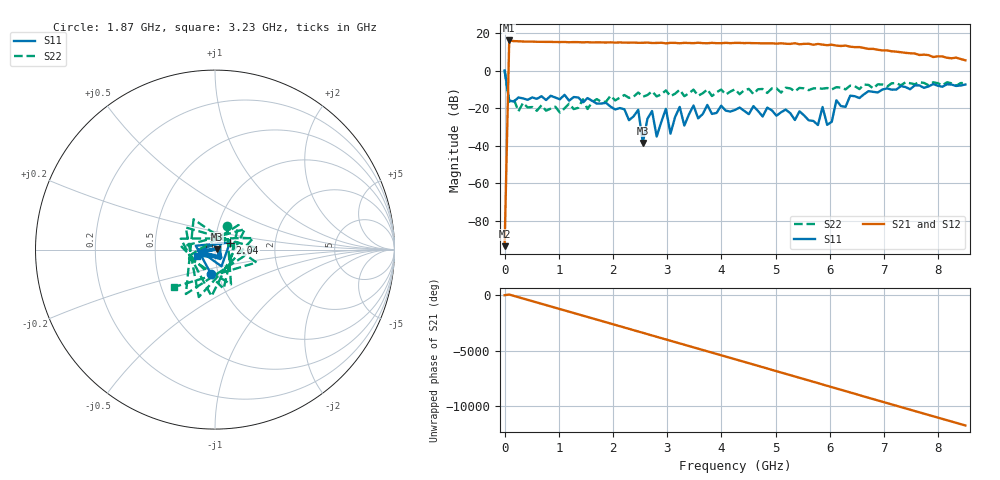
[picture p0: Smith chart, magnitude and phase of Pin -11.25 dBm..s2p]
! RsaToolbox (C) 2013 Rohde & Schwarz America
! Number of points: 101
! Number of ports: 2
! Balanced ports?: 0
# Hz S RI R 50
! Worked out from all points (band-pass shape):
!   101 points, 9 kHz to 8.5 GHz, reference 50 ohm
!   highest |S21| = 16.09 dB at 85.01 MHz (marker M1); lowest = -93.7 dB at 9 kHz (marker M2)
!   |S21| within 3 dB of the highest: 82.69 MHz to 6.329 GHz (6.247 GHz wide, 195 % of centre)
!   lowest |S11| = -38.6 dB at 2.55 GHz (marker M3), VSWR 1.02, Z = 51.2 + j0.158 ohm
!   |S11| at or under -10 dB: 53.43 MHz to 6.983 GHz (6.929 GHz wide, 197 % of centre); 7.118 GHz to 7.231 GHz (112.6 MHz wide, 1.57 % of centre)
!   |S22| runs from -22.4 to 0.2 dB; largest |S21 - S12| = 0
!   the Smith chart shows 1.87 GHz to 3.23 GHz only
!   S11 on the Smith chart (normalised r, x): 1.87 GHz: 0.92, -0.26; 2.04 GHz: 1.18, +0.09; 3.23 GHz: 0.81, -0.05
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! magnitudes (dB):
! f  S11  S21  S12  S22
! 9 kHz  0.1  -93.7  -93.7  0.2
! 85.01 MHz  -16.0  16.1  16.1  -16.6
! 1.02 GHz  -15.3  15.2  15.2  -22.4
! 1.445 GHz  -16.9  15.1  15.1  -15.3
! 1.87 GHz  -17.2  15.0  15.0  -16.6
! 2.04 GHz  -20.7  14.9  14.9  -15.9
! 2.465 GHz  -20.9  14.8  14.8  -11.7
! 2.55 GHz  -38.6  14.8  14.8  -14.0
! 2.72 GHz  -21.6  14.7  14.7  -11.1
! 2.805 GHz  -35.2  14.8  14.8  -13.8
! 2.89 GHz  -27.4  14.9  14.9  -12.7
! 2.975 GHz  -20.4  14.6  14.6  -10.6
! 3.06 GHz  -33.6  14.8  14.8  -13.7
! 3.23 GHz  -19.4  14.6  14.6  -10.2
! 3.315 GHz  -29.3  14.8  14.8  -13.6
! 3.485 GHz  -18.6  14.7  14.7  -10.2
! 3.57 GHz  -25.5  14.9  14.9  -13.4
! 4.25 GHz  -21.0  14.8  14.8  -9.9
! 5.695 GHz  -26.9  13.8  13.8  -9.5
! 6.12 GHz  -15.8  13.4  13.4  -8.8
! 7.14 GHz  -10.2  10.3  10.3  -6.8
! 8.5 GHz  -7.4  5.5  5.5  -6.7
